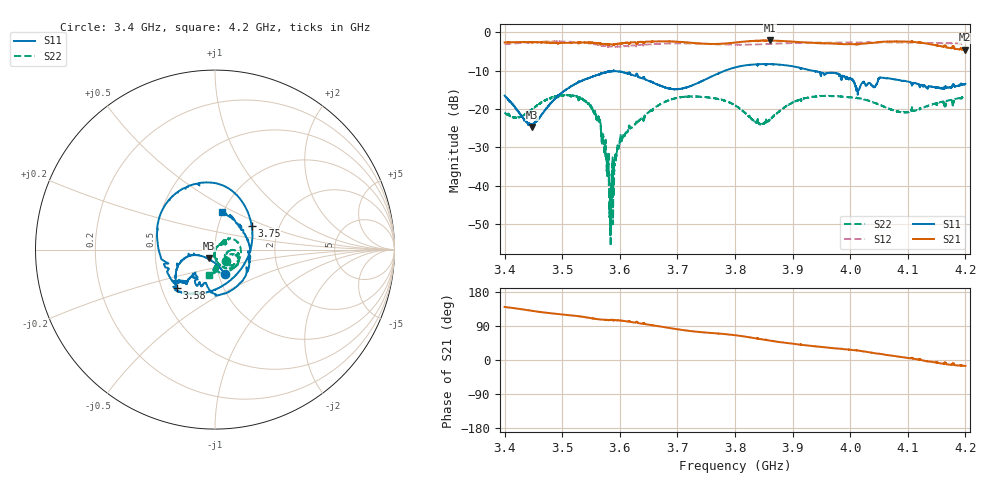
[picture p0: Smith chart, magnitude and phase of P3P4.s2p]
# GHZ S DB R 50.000000000000
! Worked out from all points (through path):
!   4501 points, 3.4 GHz to 4.2 GHz, reference 50 ohm
!   highest |S21| = -2.17 dB at 3.86 GHz (marker M1); lowest = -4.6 dB at 4.199 GHz (marker M2)
!   lowest |S11| = -24.7 dB at 3.447 GHz (marker M3), VSWR 1.12, Z = 46.4 - j4.36 ohm
!   |S11| at or under -10 dB: start of sweep to 3.589 GHz; 3.59 GHz to 3.783 GHz (193.8 MHz wide, 5.26 % of centre); 3.934 GHz to end of sweep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
!   |S22| runs from -55.7 to -16.3 dB; largest |S21 - S12| = 0.12
!   S11 on the Smith chart (normalised r, x): 3.4 GHz: 1.07, -0.30; 3.58 GHz: 0.60, -0.28; 3.75 GHz: 1.44, +0.41; 4.2 GHz: 0.99, +0.43
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3.4  -16.54 -68.4  -2.69 140.1  -3.07 139.4  -20.93 -45.3
3.447111  -24.66 -126.8  -2.72 129.7  -2.72 130.9  -20.01 -17.0
3.488  -17.28 -166.5  -2.80 122.1  -2.45 121.0  -16.75 -23.2
3.533511  -12.74 -154.6  -2.68 114.4  -2.71 109.4  -17.24 -49.3
3.563556  -11.08 -141.7  -2.84 107.4  -3.22 102.6  -22.08 -80.0
3.576711  -10.43 -136.3  -3.16 105.8  -3.61 101.3  -33.61 -96.3
3.580444  -10.41 -135.1  -3.09 104.8  -3.60 100.6  -31.12 -108.3
3.585956  -10.18 -133.9  -3.20 105.9  -3.75 101.4  -39.80 38.5
3.594133  -10.17 -131.4  -3.07 105.1  -3.78 100.8  -32.24 53.3
3.603556  -10.36 -127.8  -2.94 103.6  -3.70 100.6  -28.15 50.9
3.666844  -13.72 -77.9  -2.40 89.2  -3.04 90.4  -19.05 33.4
3.749689  -12.25 33.3  -3.04 72.4  -3.07 72.5  -16.92 -25.9
3.8  -9.19 76.3  -2.72 65.4  -3.28 64.3  -19.11 -49.8
3.844089  -8.34 108.1  -2.22 55.2  -3.18 58.1  -23.93 -27.8
3.860089  -8.31 120.0  -2.17 51.3  -3.07 55.5  -22.94 -8.8
3.933511  -10.00 177.9  -2.76 37.0  -2.74 41.4  -16.86 -19.1
3.9744  -10.72 -141.3  -2.99 30.8  -2.74 33.0  -16.66 -43.4
4.013689  -15.13 -129.4  -3.19 24.9  -2.72 24.0  -17.22 -68.6
4.066844  -12.02 -75.4  -2.47 12.4  -2.67 13.3  -19.93 -91.9
4.139556  -14.20 0.1  -3.16 -4.4  -2.85 -2.6  -18.94 -81.3
4.199289  -13.50 79.0  -4.59 -15.4  -2.95 -17.3  -16.73 -102.8
4.2  -13.48 79.6  -4.56 -15.6  -2.97 -17.5  -16.71 -103.2
